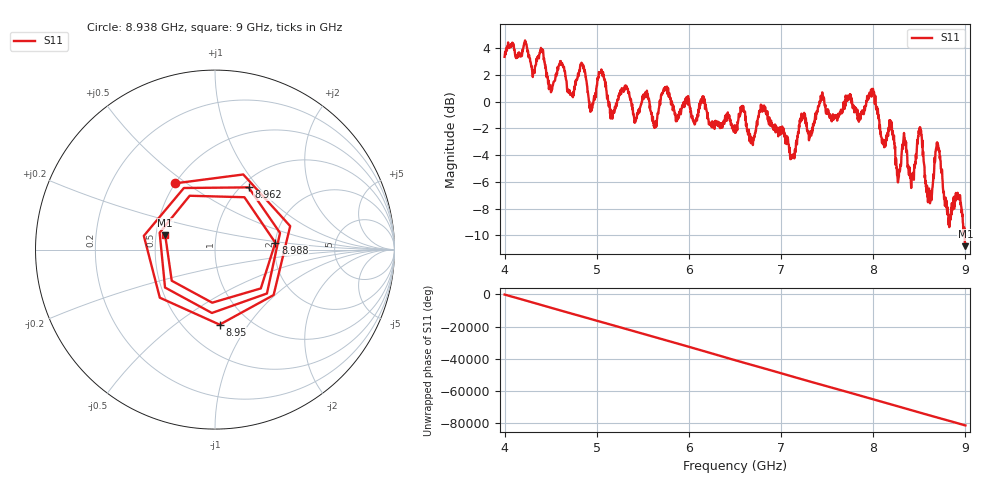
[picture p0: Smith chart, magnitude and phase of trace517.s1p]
! Created with skrf 1.8.0 (http://scikit-rf.org).
# Hz S RI R 50.0
!freq ReS11 ImS11
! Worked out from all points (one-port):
!   1601 points, 4 GHz to 9 GHz, reference 50 ohm
!   lowest |S11| = -10.8 dB at 9 GHz (marker M1), VSWR 1.81, Z = 28 + j4.82 ohm
!   |S11| at or under -10 dB: 8.992391 GHz to end of sweep
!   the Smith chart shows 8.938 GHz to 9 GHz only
!   S11 on the Smith chart (normalised r, x): 8.938 GHz: 0.50, +0.45; 8.95 GHz: 0.73, -0.74; 8.962 GHz: 1.08, +0.89; 8.988 GHz: 2.00, +0.17; 9 GHz: 0.56, +0.10
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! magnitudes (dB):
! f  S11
! 4 GHz  3.3
! 4.503 GHz  0.7
! 4.625 GHz  2.9
! 4.725 GHz  0.5
! 4.847 GHz  2.7
! 4.938 GHz  -0.6
! 5.044 GHz  2.2
! 5.162 GHz  -1.0
! 5.25 GHz  0.6
! 5.875 GHz  -1.2
! 6.5 GHz  -2.3
! 6.806 GHz  -0.6
! 7.125 GHz  -4.0
! 7.234 GHz  -1.0
! 7.75 GHz  0.4
! 7.988 GHz  1.0
! 8.266 GHz  -6.0
! 8.375 GHz  -4.9
! 8.425 GHz  -5.7
! 8.509 GHz  -1.9
! 8.609 GHz  -7.0
! 8.7 GHz  -3.3
! 8.816 GHz  -8.6
! 8.938 GHz  -7.3
! 8.95 GHz  -7.6
! 8.962 GHz  -8.1
! 8.988 GHz  -9.4
! 9 GHz  -10.8
